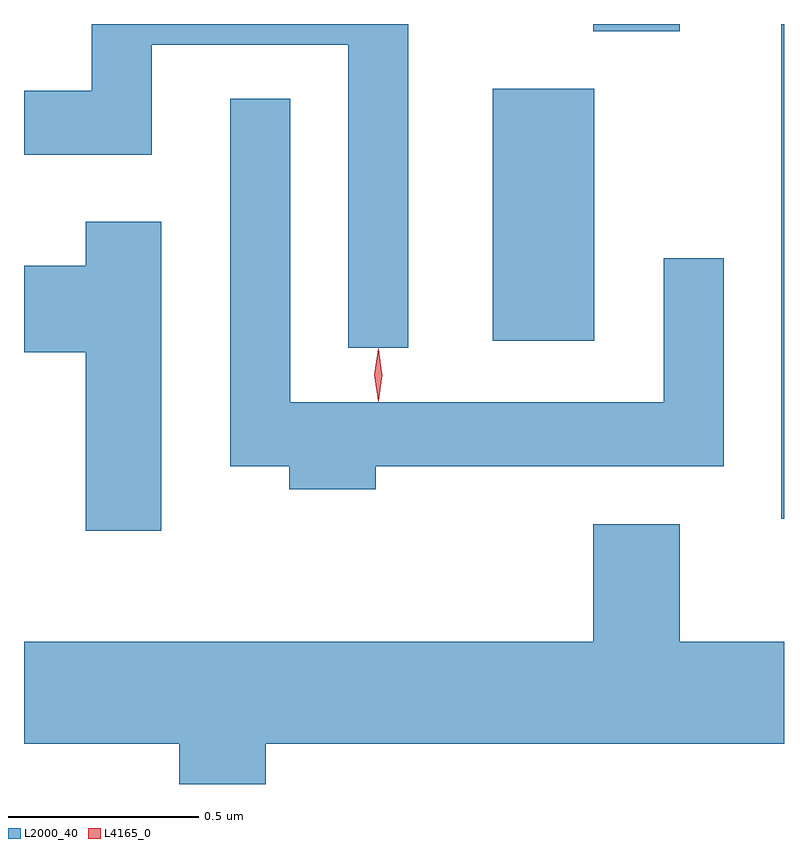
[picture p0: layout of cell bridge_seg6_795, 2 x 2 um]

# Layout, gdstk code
import gdstk
lib = gdstk.Library(unit=1e-6, precision=1e-09)
def R(c, l, rs):  # rectangles x0, y0, x1, y1
    for r in rs: c.add(gdstk.rectangle(r[:2], r[2:], *l))
def P(c, l, *ps):  # polygons
    for p in ps: c.add(gdstk.Polygon(p, *l))
L2000_40 = (2000, 40)
L4165_0 = (4165, 0)

bridge_seg6_795 = lib.new_cell('bridge_seg6_795')
R(bridge_seg6_795, L2000_40, [(445.416,1583.928,445.423,1585.23), (444.656,1584.396,444.924,1585.059), (444.921,1585.211,445.149,1585.23)])
P(bridge_seg6_795, L2000_40, [(444.434,1585.23),(443.601,1585.23),(443.601,1585.054),(443.423,1585.054),(443.423,1584.886),(443.759,1584.886),(443.759,1585.176),(444.276,1585.176),(444.276,1584.378),(444.434,1584.378)],
  [(444.349,1584.066),(445.264,1584.066),(445.264,1584.613),(445.106,1584.613),(445.106,1584.234),(444.124,1584.234),(444.124,1585.033),(443.966,1585.033),(443.966,1584.066),(444.121,1584.066),(444.121,1584.006),(444.349,1584.006)],
  [(443.784,1584.709),(443.586,1584.709),(443.586,1584.594),(443.423,1584.594),(443.423,1584.366),(443.586,1584.366),(443.586,1583.896),(443.784,1583.896)],
  [(444.059,1583.336),(445.423,1583.336),(445.423,1583.604),(445.149,1583.604),(445.149,1583.914),(444.921,1583.914),(444.921,1583.604),(443.423,1583.604),(443.423,1583.336),(443.831,1583.336),(443.831,1583.23),(444.059,1583.23)])
P(bridge_seg6_795, L4165_0, [(444.355,1584.237),(444.355,1584.237),(444.345,1584.307),(444.355,1584.376),(444.355,1584.376),(444.356,1584.376),(444.365,1584.307),(444.356,1584.237)],
  [(444.356,1584.24),(444.356,1584.24),(444.346,1584.306),(444.356,1584.372),(444.356,1584.373),(444.357,1584.372),(444.366,1584.306),(444.357,1584.24)])

lib.write_gds('bridge_seg6_795.gds')
